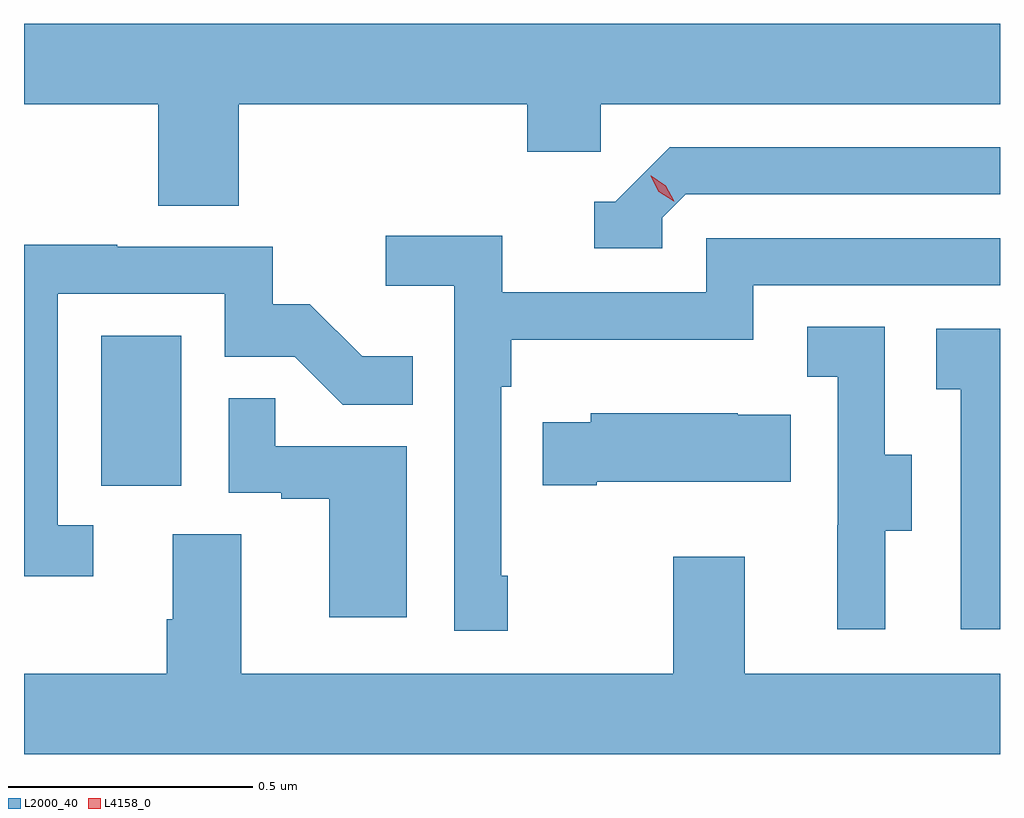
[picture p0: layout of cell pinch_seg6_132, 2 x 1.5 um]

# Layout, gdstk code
import gdstk
lib = gdstk.Library(unit=1e-6, precision=1e-09)
def R(c, l, rs):  # rectangles x0, y0, x1, y1
    for r in rs: c.add(gdstk.rectangle(r[:2], r[2:], *l))
def P(c, l, *ps):  # polygons
    for p in ps: c.add(gdstk.Polygon(p, *l))
L2000_40 = (2000, 40)
L4158_0 = (4158, 0)

pinch_seg6_132 = lib.new_cell('pinch_seg6_132')
R(pinch_seg6_132, L2000_40, [(974.288,934.566,974.452,934.873)])
P(pinch_seg6_132, L2000_40, [(974.57,935.348),(975.161,935.348),(975.161,935.25),(975.312,935.25),(975.312,935.348),(976.13,935.348),(976.13,935.512),(974.13,935.512),(974.13,935.348),(974.405,935.348),(974.405,935.14),(974.57,935.14)],
  [(975.438,935.115),(975.486,935.163),(976.13,935.163),(976.13,935.259),(975.453,935.259),(975.342,935.148),(975.299,935.148),(975.299,935.052),(975.438,935.052)],
  [(975.121,934.381),(975.108,934.381),(975.108,934.769),(975.128,934.769),(975.128,934.865),(975.624,934.865),(975.624,934.977),(976.13,934.977),(976.13,935.073),(975.528,935.073),(975.528,934.962),(975.11,934.962),(975.11,935.078),(974.871,935.078),(974.871,934.976),(975.012,934.976),(975.012,934.269),(975.121,934.269)],
  [(974.272,934.485),(974.199,934.485),(974.199,934.959),(974.541,934.959),(974.541,934.83),(974.685,934.83),(974.783,934.732),(974.927,934.732),(974.927,934.831),(974.823,934.831),(974.716,934.938),(974.64,934.938),(974.64,935.055),(974.321,935.055),(974.321,935.06),(974.13,935.06),(974.13,934.38),(974.272,934.38)],
  [(975.895,934.474),(975.949,934.474),(975.949,934.629),(975.894,934.629),(975.894,934.892),(975.735,934.892),(975.735,934.789),(975.798,934.789),(975.798,934.485),(975.797,934.485),(975.797,934.272),(975.895,934.272)],
  [(976.13,934.887),(975.999,934.887),(975.999,934.763),(976.05,934.763),(976.05,934.272),(976.13,934.272)],
  [(974.914,934.647),(974.645,934.647),(974.645,934.745),(974.55,934.745),(974.55,934.551),(974.657,934.551),(974.657,934.539),(974.756,934.539),(974.756,934.296),(974.914,934.296)],
  [(975.304,934.574),(975.701,934.574),(975.701,934.711),(975.593,934.711),(975.593,934.714),(975.291,934.714),(975.291,934.696),(975.193,934.696),(975.193,934.567),(975.304,934.567)],
  [(976.13,934.18),(975.607,934.18),(975.607,934.42),(975.46,934.42),(975.46,934.18),(974.575,934.18),(974.575,934.466),(974.435,934.466),(974.435,934.292),(974.423,934.292),(974.423,934.18),(974.13,934.18),(974.13,934.016),(976.13,934.016)])
P(pinch_seg6_132, L4158_0, [(975.461,935.149),(975.431,935.168),(975.414,935.2),(975.414,935.201),(975.415,935.201),(975.445,935.181),(975.462,935.149),(975.462,935.149)])

lib.write_gds('pinch_seg6_132.gds')
